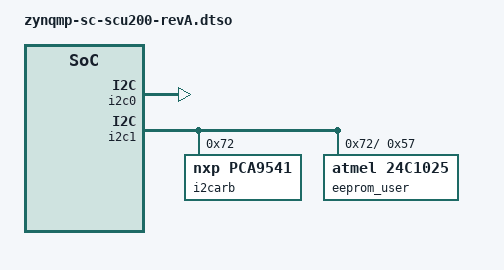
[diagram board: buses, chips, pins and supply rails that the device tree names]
// SPDX-License-Identifier: GPL-2.0
/*
 * dts file for SC on SCU200 revA (k24)
 *
 * (C) Copyright 2025, Advanced Micro Devices, Inc.
 *
 * Michal Simek <michal.simek@amd.com>
 */

/dts-v1/;
/plugin/;

&{/} {
	compatible = "xlnx,zynqmp-sc-scu200-revA",
		     "xlnx,zynqmp-sc-scu200", "xlnx,zynqmp";
	model = "ZynqMP SC SCU200 revA";
};

&i2c0 { /* I2C_SCK C42/D42 - MIO 66/67 FMC */
	status = "okay";
	/* board_i2c0 */
};

&i2c1 { /* I2C_SCK C26/C27 - MIO from SOM */
	#address-cells = <1>;
	#size-cells = <0>;

	i2carb: i2c-arbitrator@72 { /* u75 */
		compatible = "nxp,pca9541";
		reg = <0x72>;

		i2carb1: i2c-arb {
			#address-cells = <1>;
			#size-cells = <0>;
			/* board_i2c1 */
			/* 0x69 - SIT95211 clock generator */
			/* 0x20 - TPS25730 power */
			/* 0x44 - ina700 monitor */
			/* 0x40 - pina745ai power */
			/* 0x45 - ina700 monitor */

			eeprom_user: eeprom@57 { /* also at address 0x5f - 1024Kbit */
				bootph-all;
				compatible = "atmel,24c1025"; /* st 24FC1025T */
				reg = <0x57>;
			};
		};
	};
};

&zynqmp_dpsub {
	status = "disabled";
};
